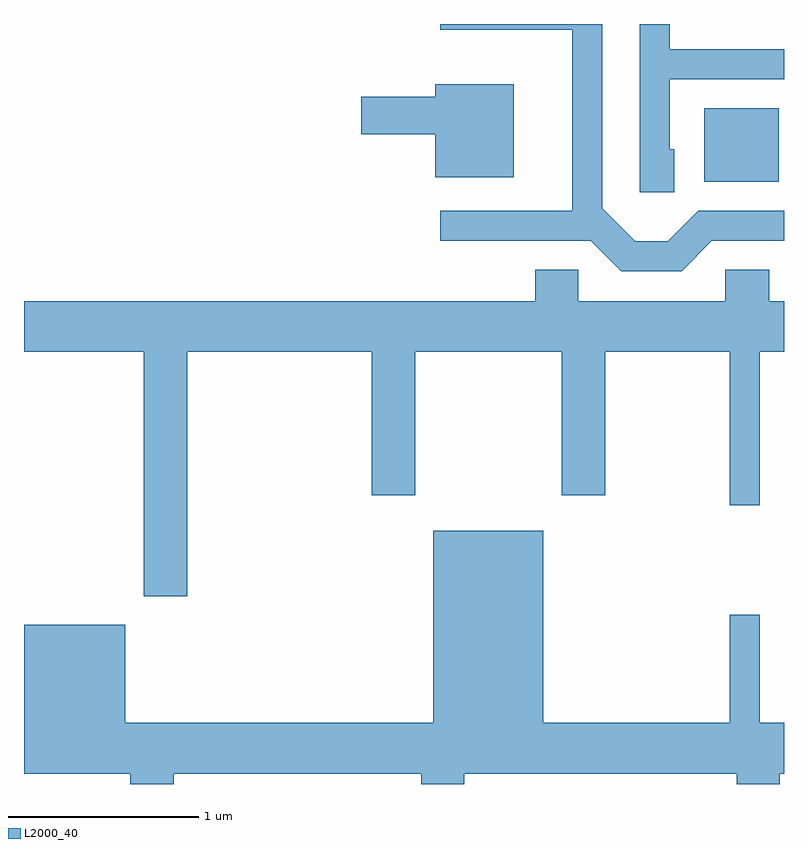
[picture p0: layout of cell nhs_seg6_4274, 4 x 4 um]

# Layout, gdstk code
import gdstk
lib = gdstk.Library(unit=1e-6, precision=1e-09)
def R(c, l, rs):  # rectangles x0, y0, x1, y1
    for r in rs: c.add(gdstk.rectangle(r[:2], r[2:], *l))
def P(c, l, *ps):  # polygons
    for p in ps: c.add(gdstk.Polygon(p, *l))
L2000_40 = (2000, 40)

nhs_seg6_4274 = lib.new_cell('nhs_seg6_4274')
R(nhs_seg6_4274, L2000_40, [(319.191,1595.331,319.584,1595.719)])
P(nhs_seg6_4274, L2000_40, [(319.034,1595.504),(319.009,1595.504),(319.009,1595.871),(319.611,1595.871),(319.611,1596.029),(319.009,1596.029),(319.009,1596.162),(318.851,1596.162),(318.851,1595.276),(319.034,1595.276)],
  [(319.232,1595.021),(319.611,1595.021),(319.611,1595.179),(319.159,1595.179),(318.999,1595.019),(318.827,1595.019),(318.654,1595.192),(318.654,1596.162),(317.803,1596.162),(317.803,1596.131),(318.496,1596.131),(318.496,1595.179),(317.803,1595.179),(317.803,1595.021),(318.594,1595.021),(318.754,1594.861),(319.072,1594.861)],
  [(318.189,1595.844),(317.776,1595.844),(317.776,1595.779),(317.386,1595.779),(317.386,1595.581),(317.776,1595.581),(317.776,1595.356),(318.189,1595.356)],
  [(316.469,1594.436),(317.441,1594.436),(317.441,1593.681),(317.669,1593.681),(317.669,1594.436),(318.441,1594.436),(318.441,1593.681),(318.669,1593.681),(318.669,1594.436),(319.326,1594.436),(319.326,1593.628),(319.484,1593.628),(319.484,1594.436),(319.611,1594.436),(319.611,1594.704),(319.534,1594.704),(319.534,1594.869),(319.301,1594.869),(319.301,1594.704),(318.529,1594.704),(318.529,1594.869),(318.301,1594.869),(318.301,1594.704),(315.611,1594.704),(315.611,1594.436),(316.241,1594.436),(316.241,1593.151),(316.469,1593.151)],
  [(316.399,1592.216),(317.701,1592.216),(317.701,1592.162),(317.929,1592.162),(317.929,1592.216),(319.361,1592.216),(319.361,1592.162),(319.589,1592.162),(319.589,1592.216),(319.611,1592.216),(319.611,1592.484),(319.484,1592.484),(319.484,1593.053),(319.326,1593.053),(319.326,1592.484),(318.344,1592.484),(318.344,1593.494),(317.766,1593.494),(317.766,1592.484),(316.144,1592.484),(316.144,1592.999),(315.611,1592.999),(315.611,1592.216),(316.171,1592.216),(316.171,1592.162),(316.399,1592.162)])

lib.write_gds('nhs_seg6_4274.gds')
